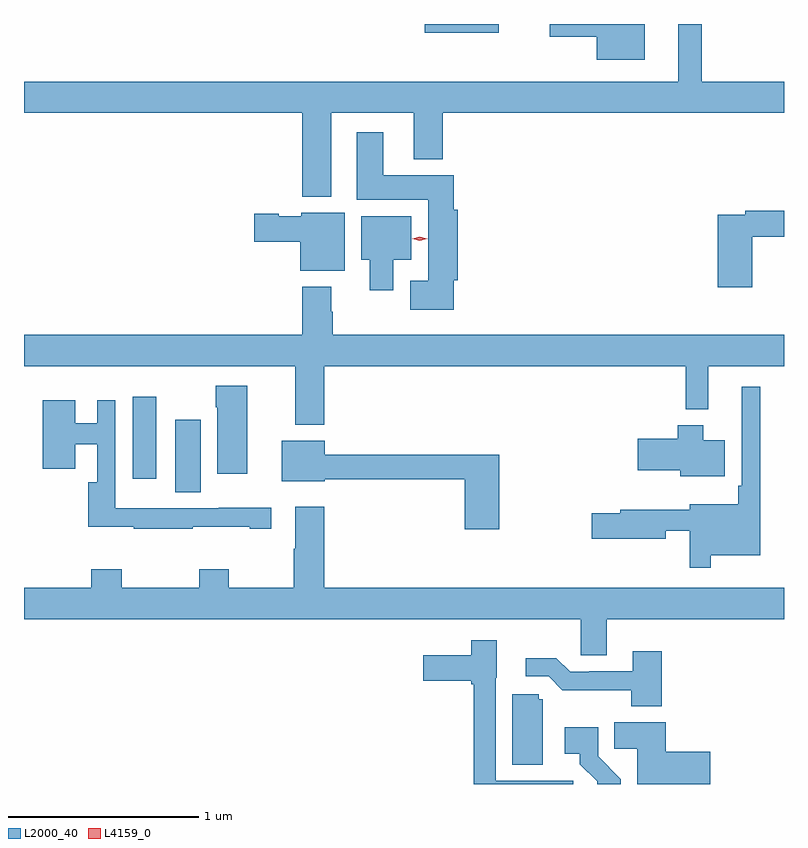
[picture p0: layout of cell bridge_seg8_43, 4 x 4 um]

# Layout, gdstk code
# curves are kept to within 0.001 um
import gdstk
lib = gdstk.Library(unit=1e-6, precision=1e-09)
def R(c, l, rs):  # rectangles x0, y0, x1, y1
    for r in rs: c.add(gdstk.rectangle(r[:2], r[2:], *l))
def P(c, l, *ps):  # polygons
    for p in ps: c.add(gdstk.Polygon(p, *l))
L2000_40 = (2000, 40)
L4159_0 = (4159, 0)

bridge_seg8_43 = lib.new_cell('bridge_seg8_43')
R(bridge_seg8_43, L2000_40, [(868.436,1106.512,868.57,1106.893), (868.214,1106.583,868.336,1107.013)])
P(bridge_seg8_43, L2000_40, [(869.257,1108.508),(869.693,1108.508),(869.693,1108.265),(869.846,1108.265),(869.846,1108.508),(871.641,1108.508),(871.641,1108.672),(871.207,1108.672),(871.207,1108.976),(871.085,1108.976),(871.085,1108.672),(867.641,1108.672),(867.641,1108.508),(869.105,1108.508),(869.105,1108.067),(869.257,1108.067)],
  [(870.907,1108.976),(870.408,1108.976),(870.408,1108.91),(870.656,1108.91),(870.656,1108.787),(870.907,1108.787)],
  [(870.139,1108.976),(867.641,1108.976),(867.641,1108.974),(869.75,1108.974),(869.75,1108.931),(870.139,1108.931)],
  [(869.903,1107.627),(869.924,1107.627),(869.924,1107.999),(869.903,1107.999),(869.903,1108.18),(869.533,1108.18),(869.533,1108.405),(869.393,1108.405),(869.393,1108.052),(869.768,1108.052),(869.768,1107.625),(869.673,1107.625),(869.673,1107.473),(869.903,1107.473)],
  [(871.475,1107.856),(871.641,1107.856),(871.641,1107.992),(871.438,1107.992),(871.438,1107.972),(871.292,1107.972),(871.292,1107.591),(871.475,1107.591)],
  [(869.329,1107.982),(869.1,1107.982),(869.1,1107.964),(868.983,1107.964),(868.983,1107.977),(868.854,1107.977),(868.854,1107.83),(869.096,1107.83),(869.096,1107.677),(869.329,1107.677)],
  [(869.584,1107.734),(869.68,1107.734),(869.68,1107.964),(869.417,1107.964),(869.417,1107.734),(869.462,1107.734),(869.462,1107.576),(869.584,1107.576)],
  [(869.222,1107.176),(871.123,1107.176),(871.123,1106.948),(871.241,1106.948),(871.241,1107.176),(871.641,1107.176),(871.641,1107.34),(869.265,1107.34),(869.265,1107.461),(869.257,1107.461),(869.257,1107.592),(869.105,1107.592),(869.105,1107.34),(867.641,1107.34),(867.641,1107.176),(869.069,1107.176),(869.069,1106.867),(869.222,1106.867)],
  [(868.816,1107.073),(868.651,1107.073),(868.651,1106.96),(868.658,1106.96),(868.658,1106.61),(868.816,1106.61)],
  [(871.255,1106.18),(871.516,1106.18),(871.516,1107.067),(871.419,1107.067),(871.419,1106.545),(871.399,1106.545),(871.399,1106.449),(871.145,1106.449),(871.145,1106.42),(870.779,1106.42),(870.779,1106.402),(870.63,1106.402),(870.63,1106.267),(871.018,1106.267),(871.018,1106.31),(871.146,1106.31),(871.146,1106.115),(871.255,1106.115)],
  [(868.529,1106.329),(868.829,1106.329),(868.829,1106.319),(868.942,1106.319),(868.942,1106.429),(868.666,1106.429),(868.666,1106.427),(868.332,1106.427),(868.332,1106.428),(868.122,1106.428),(868.122,1106.995),(868.026,1106.995),(868.026,1106.875),(867.91,1106.875),(867.91,1106.995),(867.74,1106.995),(867.74,1106.634),(867.91,1106.634),(867.91,1106.765),(868.026,1106.765),(868.026,1106.563),(867.98,1106.563),(867.98,1106.329),(868.219,1106.329),(868.219,1106.319),(868.529,1106.319)],
  [(871.33,1106.785),(871.216,1106.785),(871.216,1106.863),(871.082,1106.863),(871.082,1106.793),(870.87,1106.793),(870.87,1106.627),(871.094,1106.627),(871.094,1106.597),(871.33,1106.597)],
  [(870.143,1106.71),(869.224,1106.71),(869.224,1106.782),(868.997,1106.782),(868.997,1106.57),(869.224,1106.57),(869.224,1106.581),(869.96,1106.581),(869.96,1106.316),(870.143,1106.316)],
  [(870.709,1105.844),(871.641,1105.844),(871.641,1106.008),(869.222,1106.008),(869.222,1106.434),(869.069,1106.434),(869.069,1106.213),(869.062,1106.213),(869.062,1106.008),(868.719,1106.008),(868.719,1106.107),(868.564,1106.107),(868.564,1106.008),(868.155,1106.008),(868.155,1106.107),(867.995,1106.107),(867.995,1106.008),(867.641,1106.008),(867.641,1105.844),(870.57,1105.844),(870.57,1105.654),(870.709,1105.654)],
  [(870.532,1104.993),(870.123,1104.993),(870.123,1105.536),(870.13,1105.536),(870.13,1105.732),(869.994,1105.732),(869.994,1105.654),(869.742,1105.654),(869.742,1105.52),(869.994,1105.52),(869.994,1105.502),(870.007,1105.502),(870.007,1104.976),(870.532,1104.976)],
  [(870.998,1105.675),(870.845,1105.675),(870.845,1105.569),(870.616,1105.569),(870.616,1105.566),(870.516,1105.566),(870.443,1105.639),(870.282,1105.639),(870.282,1105.542),(870.402,1105.542),(870.475,1105.469),(870.838,1105.47),(870.838,1105.385),(870.998,1105.385)],
  [(870.37,1105.422),(870.351,1105.422),(870.351,1105.449),(870.212,1105.449),(870.212,1105.078),(870.37,1105.078)],
  [(871.252,1105.145),(871.019,1105.145),(871.019,1105.3),(870.748,1105.3),(870.748,1105.162),(870.869,1105.162),(870.869,1104.976),(871.252,1104.976)],
  [(870.782,1105.002),(870.663,1105.121),(870.663,1105.276),(870.486,1105.276),(870.486,1105.136),(870.566,1105.136),(870.566,1105.081),(870.657,1104.991),(870.657,1104.976),(870.782,1104.976)])
P(bridge_seg8_43, L4159_0, [(869.724,1107.836),(869.685,1107.846),(869.685,1107.846),(869.685,1107.846),(869.724,1107.856),(869.763,1107.846),(869.763,1107.846),(869.763,1107.846)])

lib.write_gds('bridge_seg8_43.gds')
